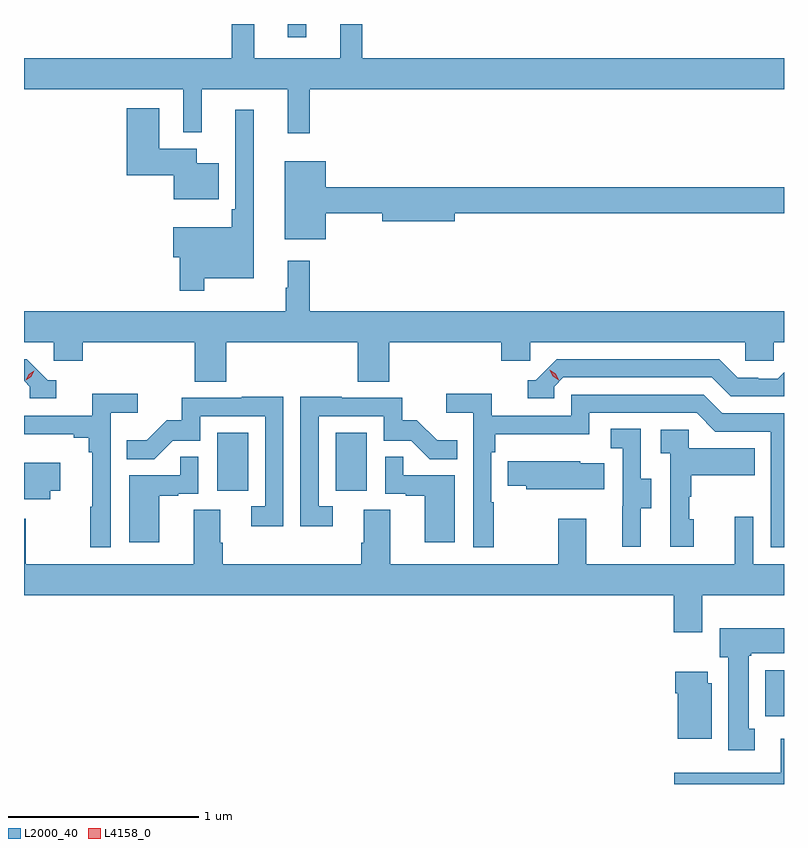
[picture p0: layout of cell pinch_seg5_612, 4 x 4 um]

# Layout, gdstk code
import gdstk
lib = gdstk.Library(unit=1e-6, precision=1e-09)
def R(c, l, rs):  # rectangles x0, y0, x1, y1
    for r in rs: c.add(gdstk.rectangle(r[:2], r[2:], *l))
def P(c, l, *ps):  # polygons
    for p in ps: c.add(gdstk.Polygon(p, *l))
L2000_40 = (2000, 40)
L4158_0 = (4158, 0)

pinch_seg5_612 = lib.new_cell('pinch_seg5_612')
R(pinch_seg5_612, L2000_40, [(1032.938,869.444,1033.036,869.686), (1030.052,870.63,1030.216,870.937), (1030.676,870.63,1030.84,870.937), (1030.424,873.018,1030.521,873.087)])
P(pinch_seg5_612, L2000_40, [(1030.541,872.744),(1033.036,872.744),(1033.036,872.908),(1030.817,872.908),(1030.817,873.087),(1030.7,873.087),(1030.7,872.908),(1030.247,872.908),(1030.247,873.087),(1030.129,873.087),(1030.129,872.908),(1029.036,872.908),(1029.036,872.744),(1029.873,872.744),(1029.873,872.516),(1029.971,872.516),(1029.971,872.744),(1030.424,872.744),(1030.424,872.511),(1030.541,872.511)],
  [(1030.06,872.353),(1029.946,872.353),(1029.946,872.431),(1029.748,872.431),(1029.748,872.644),(1029.578,872.644),(1029.578,872.291),(1029.824,872.291),(1029.824,872.165),(1030.06,872.165)],
  [(1029.985,871.748),(1030.246,871.748),(1030.246,872.635),(1030.149,872.635),(1030.149,872.113),(1030.129,872.113),(1030.129,872.017),(1029.822,872.017),(1029.822,871.859),(1029.856,871.859),(1029.856,871.683),(1029.985,871.683)],
  [(1030.624,872.092),(1030.922,872.092),(1030.922,872.05),(1031.302,872.05),(1031.302,872.092),(1033.036,872.092),(1033.036,872.228),(1030.624,872.228),(1030.624,872.365),(1030.409,872.365),(1030.409,871.955),(1030.624,871.955)],
  [(1030.1,871.412),(1030.793,871.412),(1030.793,871.204),(1030.958,871.204),(1030.958,871.412),(1031.549,871.412),(1031.549,871.314),(1031.7,871.314),(1031.7,871.412),(1032.831,871.412),(1032.831,871.314),(1032.981,871.314),(1032.981,871.412),(1033.036,871.412),(1033.036,871.576),(1030.541,871.576),(1030.541,871.84),(1030.424,871.84),(1030.424,871.7),(1030.413,871.7),(1030.413,871.576),(1029.036,871.576),(1029.036,871.412),(1029.192,871.412),(1029.192,871.314),(1029.344,871.314),(1029.344,871.412),(1029.935,871.412),(1029.935,871.204),(1030.1,871.204)],
  [(1029.205,871.212),(1029.162,871.212),(1029.051,871.323),(1029.036,871.323),(1029.036,871.209),(1029.066,871.179),(1029.066,871.116),(1029.205,871.116)],
  [(1031.826,871.179),(1031.874,871.227),(1032.657,871.227),(1032.756,871.128),(1033.036,871.128),(1033.036,871.255),(1033.003,871.221),(1032.9,871.221),(1032.9,871.224),(1032.793,871.224),(1032.694,871.323),(1031.841,871.323),(1031.73,871.212),(1031.687,871.212),(1031.687,871.116),(1031.826,871.116)],
  [(1029.492,871.04),(1029.634,871.04),(1029.634,871.142),(1029.395,871.142),(1029.395,871.026),(1029.036,871.026),(1029.036,870.929),(1029.299,870.929),(1029.299,870.91),(1029.376,870.91),(1029.376,870.833),(1029.395,870.833),(1029.395,870.545),(1029.384,870.545),(1029.384,870.333),(1029.492,870.333)],
  [(1031.509,870.569),(1031.496,870.569),(1031.496,870.833),(1031.515,870.833),(1031.515,870.929),(1032.012,870.929),(1032.012,871.041),(1032.576,871.041),(1032.675,870.942),(1032.966,870.942),(1032.966,870.333),(1033.036,870.333),(1033.036,871.038),(1032.712,871.038),(1032.613,871.137),(1031.916,871.137),(1031.916,871.026),(1031.498,871.026),(1031.498,871.142),(1031.259,871.142),(1031.259,871.04),(1031.4,871.04),(1031.4,870.333),(1031.509,870.333)],
  [(1030.66,870.549),(1030.587,870.549),(1030.587,871.023),(1030.929,871.023),(1030.929,870.894),(1031.073,870.894),(1031.171,870.796),(1031.315,870.796),(1031.315,870.895),(1031.211,870.895),(1031.104,871.002),(1031.028,871.002),(1031.028,871.119),(1030.709,871.119),(1030.709,871.124),(1030.491,871.124),(1030.491,870.444),(1030.66,870.444)],
  [(1030.401,871.124),(1030.183,871.124),(1030.183,871.119),(1029.865,871.119),(1029.865,871.002),(1029.788,871.002),(1029.681,870.895),(1029.577,870.895),(1029.577,870.796),(1029.721,870.796),(1029.819,870.894),(1029.963,870.894),(1029.963,871.023),(1030.305,871.023),(1030.305,870.549),(1030.233,870.549),(1030.233,870.444),(1030.401,870.444)],
  [(1032.283,870.538),(1032.337,870.538),(1032.337,870.693),(1032.282,870.693),(1032.282,870.956),(1032.123,870.956),(1032.123,870.853),(1032.186,870.853),(1032.186,870.549),(1032.185,870.549),(1032.185,870.336),(1032.283,870.336)],
  [(1032.562,870.48),(1032.537,870.48),(1032.537,870.599),(1032.547,870.599),(1032.547,870.713),(1032.881,870.713),(1032.881,870.853),(1032.534,870.853),(1032.534,870.951),(1032.387,870.951),(1032.387,870.827),(1032.438,870.827),(1032.438,870.336),(1032.562,870.336)],
  [(1029.748,870.603),(1029.848,870.603),(1029.848,870.615),(1029.954,870.615),(1029.954,870.809),(1029.859,870.809),(1029.859,870.711),(1029.59,870.711),(1029.59,870.36),(1029.748,870.36)],
  [(1031.302,870.711),(1031.033,870.711),(1031.033,870.809),(1030.938,870.809),(1030.938,870.615),(1031.045,870.615),(1031.045,870.603),(1031.144,870.603),(1031.144,870.36),(1031.302,870.36)],
  [(1032.089,870.775),(1031.964,870.775),(1031.964,870.787),(1031.581,870.787),(1031.581,870.658),(1031.679,870.658),(1031.679,870.638),(1032.089,870.638)],
  [(1029.175,870.631),(1029.226,870.631),(1029.226,870.778),(1029.036,870.778),(1029.036,870.587),(1029.175,870.587)],
  [(1032.607,870.08),(1033.036,870.08),(1033.036,870.244),(1032.873,870.244),(1032.873,870.493),(1032.776,870.493),(1032.776,870.244),(1031.995,870.244),(1031.995,870.484),(1031.848,870.484),(1031.848,870.244),(1030.963,870.244),(1030.963,870.53),(1030.823,870.53),(1030.823,870.356),(1030.811,870.356),(1030.811,870.244),(1030.082,870.244),(1030.082,870.356),(1030.069,870.356),(1030.069,870.53),(1029.929,870.53),(1029.929,870.244),(1029.045,870.244),(1029.045,870.484),(1029.036,870.484),(1029.036,870.08),(1032.455,870.08),(1032.455,869.886),(1032.607,869.886)],
  [(1032.883,869.378),(1032.85,869.378),(1032.85,869.761),(1032.864,869.761),(1032.864,869.774),(1033.036,869.774),(1033.036,869.908),(1032.698,869.908),(1032.698,869.754),(1032.743,869.754),(1032.743,869.265),(1032.883,869.265)],
  [(1032.655,869.616),(1032.634,869.616),(1032.634,869.677),(1032.464,869.677),(1032.464,869.564),(1032.476,869.564),(1032.476,869.324),(1032.655,869.324)],
  [(1033.036,869.326),(1033.019,869.326),(1033.019,869.145),(1032.459,869.145),(1032.459,869.087),(1033.036,869.087)])
P(pinch_seg5_612, L4158_0, [(1031.85,871.213),(1031.82,871.233),(1031.804,871.266),(1031.804,871.266),(1031.804,871.266),(1031.835,871.246),(1031.85,871.213),(1031.85,871.213)],
  [(1029.044,871.211),(1029.044,871.211),(1029.06,871.244),(1029.091,871.263),(1029.091,871.263),(1029.091,871.263),(1029.075,871.23),(1029.044,871.211)])

lib.write_gds('pinch_seg5_612.gds')
